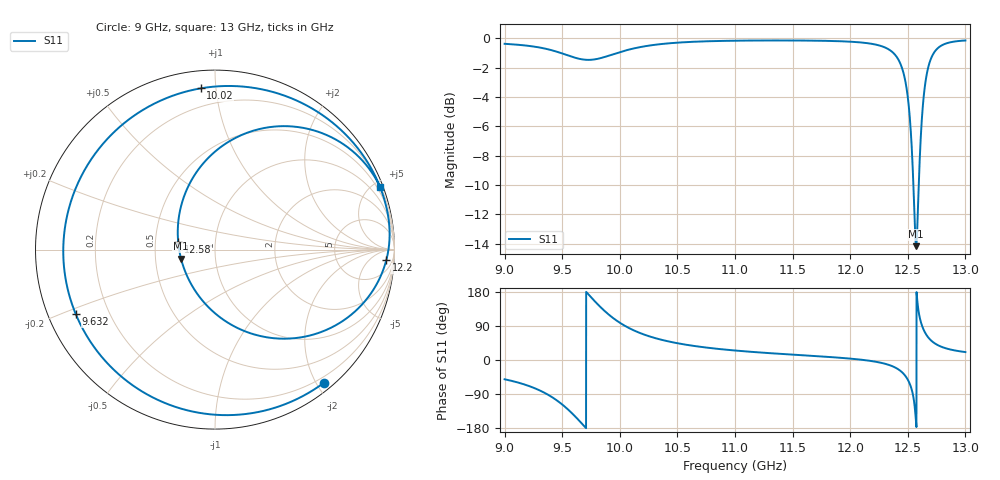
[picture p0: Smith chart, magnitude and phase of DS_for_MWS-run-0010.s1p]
! TOUCHSTONE file generated by CST DESIGN STUDIO
! Date and time: Tue Feb  4 13:25:54 2025
! Project name: C:\Work\MatlabApps\UnitCellOptimizationMatlab\CST\unitcell.cst
! Tree item: Tasks\Sweep1\SPara1\S-Parameters
! Header version: 2024
! Port assignment regex: !\s*Touchstone port\s*([0-9]+)\s*=\s*(CST MWS port|CST DES external port|CST DES block port)\s*(.+)\s* \(\"(.*)\"\)(\s*mode\s*([0-9]+))?.*
! Touchstone port assignment:
! Touchstone port 1 = CST DES external port 1 ("")
# GHz S MA R 50
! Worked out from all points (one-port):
!   4001 points, 9 GHz to 13 GHz, reference 50 ohm
!   lowest |S11| = -14.2 dB at 12.57 GHz (marker M1), VSWR 1.49, Z = 33.9 - j3.54 ohm
!   |S11| at or under -10 dB: 12.54862 GHz to 12.59504 GHz (46.42 MHz wide, 0.369 % of centre)
!   S11 on the Smith chart (normalised r, x): 9 GHz: 0.11, -2.10; 9.632 GHz: 0.08, -0.22; 10.02 GHz: 0.09, +0.91; 12.2 GHz: 15, -21; 12.58 GHz: 0.66, +0.06; 13 GHz: 0.25, +5.40
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9  0.9585 -50.9
9.262  0.9369 -74.6
9.396  0.9142 -95.1
9.5  0.8886 -117.4
9.632  0.855 -155.1
9.704  0.8456 -178.9
9.776  0.8476 157.2
9.885  0.8683 124.8
10  0.8977 98.3
10.017  0.9019 95.1
10.233  0.9423 64.8
10.5  0.9671 44.3
11  0.9821 25.0
11.5  0.9837 14.2
12  0.9745 3.7
12.201  0.9562 -3.5
12.398  0.871 -21.0
12.454  0.7835 -33.4
12.5  0.6304 -52.0
12.537  0.4046 -81.4
12.572  0.1959 -165.1
12.579  0.2098 168.1
12.599  0.3489 119.0
12.623  0.538 91.0
12.667  0.7639 63.9
12.718  0.8813 47.4
12.781  0.9397 36.2
13  0.9838 20.9
